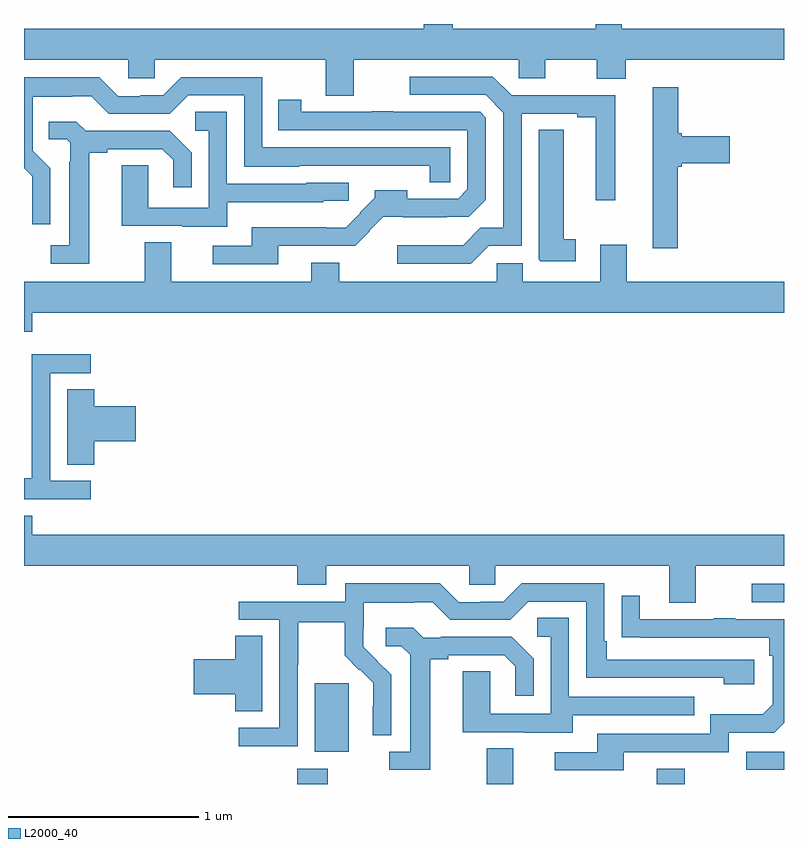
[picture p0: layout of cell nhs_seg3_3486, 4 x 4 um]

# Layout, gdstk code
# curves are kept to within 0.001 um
import gdstk
lib = gdstk.Library(unit=1e-6, precision=1e-09)
def R(c, l, rs):  # rectangles x0, y0, x1, y1
    for r in rs: c.add(gdstk.rectangle(r[:2], r[2:], *l))
def P(c, l, *ps):  # polygons
    for p in ps: c.add(gdstk.Polygon(p, *l))
L2000_40 = (2000, 40)

nhs_seg3_3486 = lib.new_cell('nhs_seg3_3486')
R(nhs_seg3_3486, L2000_40, [(292.439,734.4,292.599,734.479), (293.435,734.4,293.575,734.588), (294.329,734.4,294.477,734.479), (294.801,734.475,295,734.571), (292.529,734.57,292.708,734.931), (294.831,735.357,295,735.453)])
P(nhs_seg3_3486, L2000_40, [(292.735,738.212),(293.604,738.212),(293.604,738.114),(293.743,738.114),(293.743,738.212),(294.014,738.212),(294.014,738.113),(294.167,738.113),(294.167,738.212),(295,738.212),(295,738.376),(294.147,738.376),(294.147,738.4),(294.009,738.4),(294.009,738.376),(293.257,738.376),(293.257,738.4),(293.105,738.4),(293.105,738.376),(291,738.376),(291,738.212),(291.549,738.212),(291.549,738.114),(291.687,738.114),(291.687,738.212),(292.588,738.212),(292.588,738.022),(292.735,738.022)],
  [(293.445,737.232),(293.619,737.232),(293.619,737.928),(293.912,737.928),(293.912,737.908),(294.008,737.908),(294.008,737.472),(294.112,737.472),(294.112,738.024),(293.566,738.024),(293.467,738.123),(293.031,738.123),(293.031,738.027),(293.43,738.027),(293.523,737.934),(293.523,737.327),(293.402,737.327),(293.311,737.236),(292.965,737.236),(292.965,737.139),(293.352,737.139)],
  [(291.138,737.64),(291.045,737.733),(291.045,738.017),(291.254,738.017),(291.254,738.021),(291.354,738.021),(291.447,737.928),(291.768,737.928),(291.864,738.024),(292.158,738.024),(292.158,737.648),(292.449,737.648),(292.449,737.655),(293.136,737.654),(293.136,737.566),(293.244,737.566),(293.244,737.751),(292.254,737.751),(292.254,738.12),(291.828,738.12),(291.732,738.024),(291.612,738.024),(291.612,738.021),(291.495,738.021),(291.395,738.121),(291,738.121),(291,737.642),(291.044,737.598),(291.044,737.346),(291.138,737.346)],
  [(294.44,737.648),(294.462,737.648),(294.462,737.666),(294.715,737.666),(294.715,737.808),(294.462,737.808),(294.462,737.826),(294.443,737.826),(294.443,738.067),(294.308,738.067),(294.308,737.22),(294.44,737.22)],
  [(292.339,737.232),(292.743,737.232),(292.819,737.309),(292.817,737.311),(292.891,737.385),(293.225,737.384),(293.225,737.386),(293.341,737.386),(293.43,737.475),(293.43,737.907),(293.4,737.937),(292.943,737.937),(292.943,737.942),(292.831,737.942),(292.831,737.937),(292.458,737.937),(292.458,738.001),(292.339,738.001),(292.339,737.841),(293.334,737.841),(293.334,737.529),(293.286,737.481),(293.017,737.481),(293.017,737.524),(292.846,737.524),(292.846,737.485),(292.767,737.406),(292.77,737.403),(292.694,737.327),(292.592,737.327),(292.592,737.329),(292.199,737.329),(292.199,737.232),(291.993,737.232),(291.993,737.136),(292.339,737.136)],
  [(292.069,737.462),(292.575,737.462),(292.575,737.469),(292.71,737.469),(292.71,737.565),(292.485,737.565),(292.485,737.559),(292.068,737.559),(292.068,737.939),(291.9,737.939),(291.9,737.838),(291.972,737.838),(291.972,737.433),(291.654,737.433),(291.654,737.657),(291.515,737.657),(291.515,737.337),(291.833,737.337),(291.833,737.333),(292.069,737.333)],
  [(291.343,737.722),(291.439,737.722),(291.439,737.742),(291.728,737.742),(291.785,737.685),(291.785,737.541),(291.882,737.541),(291.882,737.722),(291.766,737.838),(291.324,737.838),(291.276,737.885),(291.13,737.885),(291.13,737.793),(291.225,737.793),(291.243,737.775),(291.243,737.675),(291.239,737.675),(291.239,737.235),(291.141,737.235),(291.141,737.139),(291.343,737.139)],
  [(293.905,737.267),(293.842,737.267),(293.842,737.843),(293.708,737.843),(293.708,737.161),(293.718,737.151),(293.905,737.151)],
  [(291.044,736.88),(295,736.88),(295,737.044),(294.172,737.044),(294.172,737.239),(294.032,737.239),(294.032,737.044),(293.626,737.044),(293.626,737.142),(293.487,737.142),(293.487,737.044),(292.659,737.044),(292.659,737.143),(292.511,737.143),(292.511,737.044),(291.775,737.044),(291.775,737.252),(291.635,737.252),(291.635,737.044),(291,737.044),(291,736.781),(291.044,736.781)],
  [(291.352,735.996),(291.138,735.996),(291.138,736.563),(291.352,736.563),(291.352,736.662),(291.042,736.662),(291.042,736.232),(291.04,736.232),(291.04,736.009),(291,736.009),(291,735.9),(291.352,735.9)],
  [(291.371,736.205),(291.589,736.205),(291.589,736.388),(291.371,736.388),(291.371,736.478),(291.227,736.478),(291.227,736.081),(291.371,736.081)],
  [(294.535,735.548),(295,735.548),(295,735.712),(291.044,735.712),(291.044,735.811),(291,735.811),(291,735.548),(292.439,735.548),(292.439,735.449),(292.591,735.449),(292.591,735.548),(293.343,735.548),(293.343,735.45),(293.481,735.45),(293.481,735.548),(294.395,735.548),(294.395,735.354),(294.535,735.354)],
  [(292.44,735.028),(292.443,735.028),(292.443,735.252),(292.687,735.252),(292.687,735.077),(292.764,735),(292.767,735.003),(292.838,734.933),(292.838,734.81),(292.836,734.81),(292.836,734.656),(292.932,734.656),(292.932,734.974),(292.786,735.122),(292.786,735.219),(292.788,735.219),(292.788,735.353),(293.051,735.353),(293.051,735.357),(293.151,735.357),(293.244,735.264),(293.559,735.264),(293.655,735.36),(293.958,735.36),(293.958,734.958),(294.683,734.958),(294.683,734.924),(294.844,734.924),(294.844,735.054),(294.067,735.054),(294.067,735.151),(294.054,735.151),(294.054,735.456),(293.619,735.456),(293.523,735.36),(293.405,735.36),(293.405,735.357),(293.289,735.357),(293.189,735.457),(292.692,735.457),(292.692,735.36),(292.131,735.36),(292.131,735.264),(292.344,735.264),(292.344,734.697),(292.131,734.697),(292.131,734.599),(292.44,734.599)],
  [(294.157,734.568),(294.708,734.568),(294.708,734.67),(294.948,734.67),(295,734.722),(295,735.267),(294.743,735.267),(294.743,735.272),(294.631,735.272),(294.631,735.267),(294.241,735.267),(294.241,735.391),(294.145,735.391),(294.145,735.172),(294.922,735.171),(294.922,735.074),(294.942,735.074),(294.942,734.82),(294.889,734.767),(294.612,734.767),(294.612,734.664),(294.017,734.664),(294.017,734.568),(293.793,734.568),(293.793,734.472),(294.157,734.472)],
  [(293.887,734.763),(294.527,734.763),(294.527,734.859),(293.868,734.859),(293.868,735.275),(293.7,735.275),(293.7,735.174),(293.772,735.174),(293.772,734.769),(293.454,734.769),(293.454,734.993),(293.309,734.993),(293.309,734.673),(293.633,734.673),(293.633,734.669),(293.887,734.669)],
  [(293.137,735.056),(293.233,735.056),(293.233,735.078),(293.528,735.078),(293.585,735.021),(293.585,734.865),(293.682,734.865),(293.682,735.058),(293.566,735.174),(293.194,735.174),(293.194,735.171),(293.1,735.171),(293.048,735.223),(292.905,735.223),(292.905,735.126),(292.986,735.126),(293.033,735.079),(293.033,734.571),(292.923,734.571),(292.923,734.475),(293.137,734.475)],
  [(292.255,735.179),(292.112,735.179),(292.112,735.056),(291.894,735.056),(291.894,734.873),(292.112,734.873),(292.112,734.782),(292.255,734.782)])

lib.write_gds('nhs_seg3_3486.gds')
